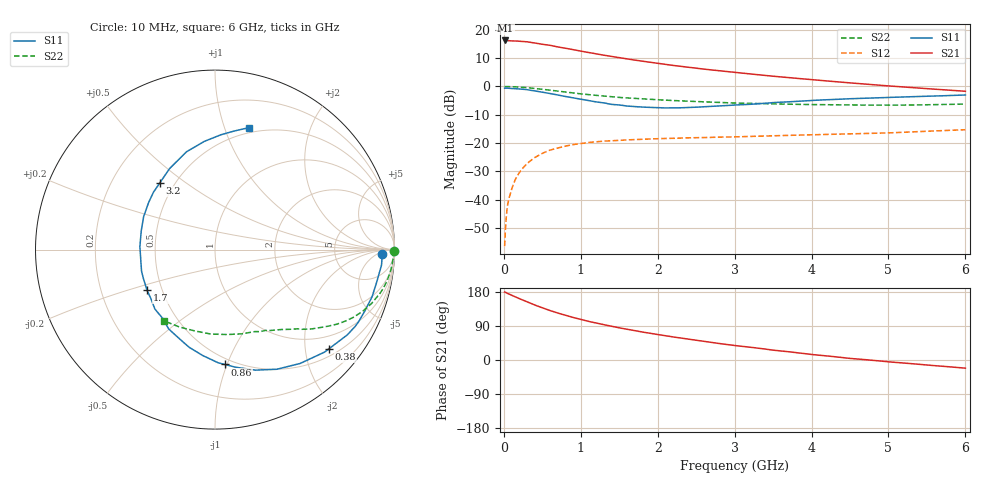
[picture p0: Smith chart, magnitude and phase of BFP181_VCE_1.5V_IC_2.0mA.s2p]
! Infineon Technologies  Discrete & RF Semiconductors
! BFP181
! VCE = 1.5 V,  IC =  2.0 mA
! Common Emitter S-Parameters:  Jan 2016
# GHz  S  MA  R  50
!  f  S11  S21  S12  S22
! GHz  MAG  ANG  MAG  ANG  MAG  ANG  MAG  ANG
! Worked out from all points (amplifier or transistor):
!   210 points, 10 MHz to 6 GHz, reference 50 ohm
!   highest |S21| = 16.3 dB at 20 MHz (marker M1)
!   |S21| within 3 dB of that: start of sweep to 853.6 MHz
!   unconditionally stable (mu >= 1): 2.354 GHz to end of sweep
!   at 185 MHz: K = 0.10, MSG = 23.6 dB, |S12| = -31.2 dB
!   at 1.52 GHz: K = 0.71, MSG = 14.6 dB, |S12| = -19.0 dB
!   at 6 GHz: K = 1.16, MAG = 4.4 dB, |S12| = -15.3 dB
!   S11 on the Smith chart (normalised r, x): 10 MHz: 25, -8; 380 MHz: 0.66, -2.52; 860 MHz: 0.45, -0.98; 1.7 GHz: 0.41, -0.23; 3.2 GHz: 0.42, +0.40; 6 GHz: 0.45, +1.22
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0.01  0.9303 -1.4  6.451 179.3  0.0015 86.5  0.9976 -0.4
0.02  0.9319 -2.5  6.494 178.7  0.0028 87.0  0.9923 -1.0
0.05  0.9318 -5.3  6.449 175.5  0.0082 89.8  0.9937 -2.5
0.13  0.9149 -14.5  6.362 168.3  0.0196 80.3  0.9859 -6.6
0.195  0.9034 -21.5  6.313 162.5  0.029 77.2  0.9758 -9.8
0.3  0.877 -32.8  6.158 153.9  0.0431 70.2  0.9521 -14.7
0.38  0.8419 -41.0  5.919 147.0  0.0526 65.4  0.9287 -18.0
0.5  0.7921 -53.2  5.561 137.5  0.0656 58.8  0.8917 -22.7
0.6  0.7503 -62.7  5.332 130.5  0.0749 54.1  0.858 -26.1
0.7  0.7078 -71.6  4.995 124.0  0.0814 49.9  0.8243 -29.1
0.86  0.6422 -85.1  4.579 114.6  0.0915 43.9  0.7765 -32.9
1.02  0.587 -98.2  4.15 106.1  0.0986 39.2  0.734 -36.2
1.3  0.512 -120.2  3.563 93.2  0.1078 32.3  0.6753 -41.0
1.5  0.4708 -135.4  3.235 84.8  0.1112 29.0  0.6388 -43.7
1.7  0.4411 -149.2  2.923 77.6  0.1149 26.4  0.6128 -46.4
2.02  0.418 -171.6  2.535 66.6  0.1195 22.9  0.579 -50.3
2.4  0.4241 165.6  2.188 54.9  0.1234 19.8  0.5478 -55.5
3.1  0.4747 133.2  1.72 36.1  0.1295 16.5  0.5042 -65.6
3.2  0.4826 129.5  1.664 33.8  0.1307 16.2  0.5006 -67.3
4.1  0.5738 104.0  1.285 12.7  0.1405 13.0  0.4752 -84.1
5.1  0.6453 85.8  0.998 -6.4  0.1529 10.7  0.4669 -105.6
6  0.7055 74.4  0.821 -21.5  0.1716 8.0  0.4886 -125.7
